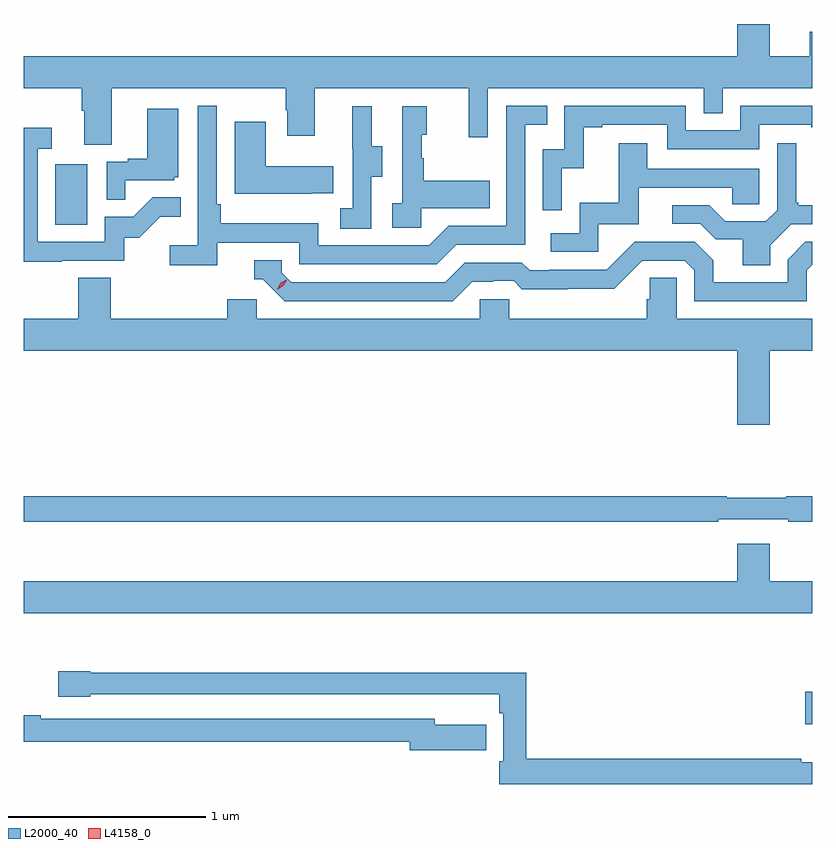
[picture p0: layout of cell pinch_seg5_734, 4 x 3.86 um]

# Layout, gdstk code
import gdstk
lib = gdstk.Library(unit=1e-6, precision=1e-09)
def R(c, l, rs):  # rectangles x0, y0, x1, y1
    for r in rs: c.add(gdstk.rectangle(r[:2], r[2:], *l))
def P(c, l, *ps):  # polygons
    for p in ps: c.add(gdstk.Polygon(p, *l))
L2000_40 = (2000, 40)
L4158_0 = (4158, 0)

pinch_seg5_734 = lib.new_cell('pinch_seg5_734')
R(pinch_seg5_734, L2000_40, [(872.646,893.492,872.68,893.658), (868.838,896.028,869.002,896.335)])
P(pinch_seg5_734, L2000_40, [(869.125,896.72),(870.01,896.72),(870.01,896.609),(870.017,896.609),(870.017,896.481),(870.157,896.481),(870.157,896.72),(870.938,896.72),(870.938,896.472),(871.035,896.472),(871.035,896.72),(872.13,896.72),(872.13,896.593),(872.226,896.593),(872.226,896.72),(872.68,896.72),(872.68,897.008),(872.669,897.008),(872.669,896.884),(872.464,896.884),(872.464,897.047),(872.3,897.047),(872.3,896.884),(868.68,896.884),(868.68,896.72),(868.973,896.72),(868.973,896.608),(868.985,896.608),(868.985,896.434),(869.125,896.434)],
  [(869.66,895.938),(870.078,895.938),(870.078,895.827),(870.775,895.827),(870.874,895.926),(871.224,895.926),(871.224,896.535),(871.337,896.535),(871.337,896.631),(871.128,896.631),(871.128,896.022),(870.837,896.022),(870.738,895.923),(870.174,895.923),(870.174,896.035),(869.678,896.035),(869.678,896.131),(869.658,896.131),(869.658,896.632),(869.562,896.632),(869.562,895.924),(869.421,895.924),(869.421,895.822),(869.66,895.822)],
  [(871.41,896.315),(871.52,896.315),(871.52,896.523),(871.615,896.523),(871.615,896.535),(871.944,896.535),(871.944,896.412),(872.412,896.412),(872.412,896.535),(872.675,896.535),(872.675,896.523),(872.68,896.523),(872.68,896.631),(872.316,896.631),(872.316,896.508),(872.04,896.508),(872.04,896.631),(871.422,896.631),(871.422,896.412),(871.314,896.412),(871.314,896.103),(871.41,896.103)],
  [(870.444,896.272),(870.499,896.272),(870.499,896.427),(870.445,896.427),(870.445,896.629),(870.347,896.629),(870.347,896.415),(870.348,896.415),(870.348,896.111),(870.285,896.111),(870.285,896.008),(870.444,896.008)],
  [(870.696,896.111),(871.043,896.111),(871.043,896.251),(870.709,896.251),(870.709,896.366),(870.699,896.366),(870.699,896.484),(870.724,896.484),(870.724,896.629),(870.6,896.629),(870.6,896.138),(870.549,896.138),(870.549,896.013),(870.696,896.013)],
  [(869.195,896.253),(869.442,896.253),(869.442,896.268),(869.464,896.268),(869.464,896.617),(869.306,896.617),(869.306,896.362),(869.207,896.362),(869.207,896.349),(869.1,896.349),(869.1,896.155),(869.195,896.155)],
  [(870.143,896.189),(870.251,896.189),(870.251,896.326),(869.908,896.326),(869.908,896.551),(869.75,896.551),(869.75,896.186),(870.143,896.186)],
  [(868.871,895.845),(869.19,895.845),(869.19,895.962),(869.266,895.962),(869.373,896.069),(869.477,896.069),(869.477,896.168),(869.333,896.168),(869.235,896.07),(869.091,896.07),(869.091,895.941),(868.749,895.941),(868.749,896.415),(868.822,896.415),(868.822,896.521),(868.68,896.521),(868.68,895.84),(868.871,895.84)],
  [(872.467,895.924),(872.574,896.031),(872.68,896.031),(872.68,896.128),(872.611,896.128),(872.611,896.14),(872.599,896.14),(872.599,896.443),(872.502,896.443),(872.502,896.103),(872.445,896.046),(872.239,896.046),(872.158,896.127),(871.971,896.127),(871.971,896.034),(872.112,896.034),(872.192,895.954),(872.327,895.954),(872.327,895.822),(872.467,895.822)],
  [(871.596,896.031),(871.801,896.031),(871.801,896.217),(872.275,896.217),(872.275,896.133),(872.412,896.133),(872.412,896.313),(871.843,896.313),(871.843,896.443),(871.699,896.443),(871.699,896.14),(871.5,896.14),(871.5,895.986),(871.353,895.986),(871.353,895.89),(871.596,895.89)],
  [(870.955,895.74),(871.062,895.74),(871.062,895.743),(871.165,895.743),(871.207,895.701),(871.44,895.701),(871.44,895.703),(871.676,895.703),(871.818,895.845),(872.034,895.845),(872.082,895.797),(872.082,895.641),(872.652,895.641),(872.652,895.797),(872.68,895.825),(872.68,895.941),(872.646,895.941),(872.556,895.851),(872.556,895.737),(872.179,895.737),(872.179,895.847),(872.085,895.941),(871.779,895.941),(871.638,895.8),(871.345,895.8),(871.345,895.797),(871.246,895.797),(871.207,895.836),(870.918,895.836),(870.819,895.737),(870.036,895.737),(869.988,895.785),(869.988,895.848),(869.849,895.848),(869.849,895.752),(869.892,895.752),(870.003,895.641),(870.856,895.641)],
  [(872.464,895.388),(872.68,895.388),(872.68,895.552),(871.992,895.552),(871.992,895.76),(871.855,895.76),(871.855,895.65),(871.841,895.65),(871.841,895.552),(871.143,895.552),(871.143,895.65),(870.993,895.65),(870.993,895.552),(869.862,895.552),(869.862,895.65),(869.711,895.65),(869.711,895.552),(869.12,895.552),(869.12,895.76),(868.955,895.76),(868.955,895.552),(868.68,895.552),(868.68,895.388),(872.3,895.388),(872.3,895.014),(872.464,895.014)],
  [(872.204,894.534),(872.56,894.534),(872.56,894.522),(872.68,894.522),(872.68,894.65),(872.548,894.65),(872.548,894.643),(872.248,894.643),(872.248,894.65),(868.68,894.65),(868.68,894.522),(872.204,894.522)],
  [(872.68,894.22),(872.464,894.22),(872.464,894.409),(872.3,894.409),(872.3,894.22),(868.68,894.22),(868.68,894.056),(872.68,894.056)],
  [(872.68,893.3),(872.625,893.3),(872.625,893.318),(871.229,893.318),(871.229,893.755),(869.016,893.755),(869.016,893.763),(868.854,893.763),(868.854,893.633),(869.016,893.633),(869.016,893.646),(870.862,893.646),(870.862,893.645),(871.093,893.645),(871.093,893.549),(871.113,893.549),(871.113,893.305),(871.093,893.305),(871.093,893.19),(872.68,893.19)],
  [(871.027,893.491),(870.766,893.491),(870.766,893.52),(868.766,893.52),(868.766,893.54),(868.68,893.54),(868.68,893.404),(870.638,893.404),(870.638,893.362),(871.027,893.362)])
P(pinch_seg5_734, L4158_0, [(869.966,895.698),(869.966,895.699),(869.982,895.731),(870.012,895.75),(870.013,895.75),(870.013,895.75),(869.997,895.718),(869.966,895.698)])

lib.write_gds('pinch_seg5_734.gds')
